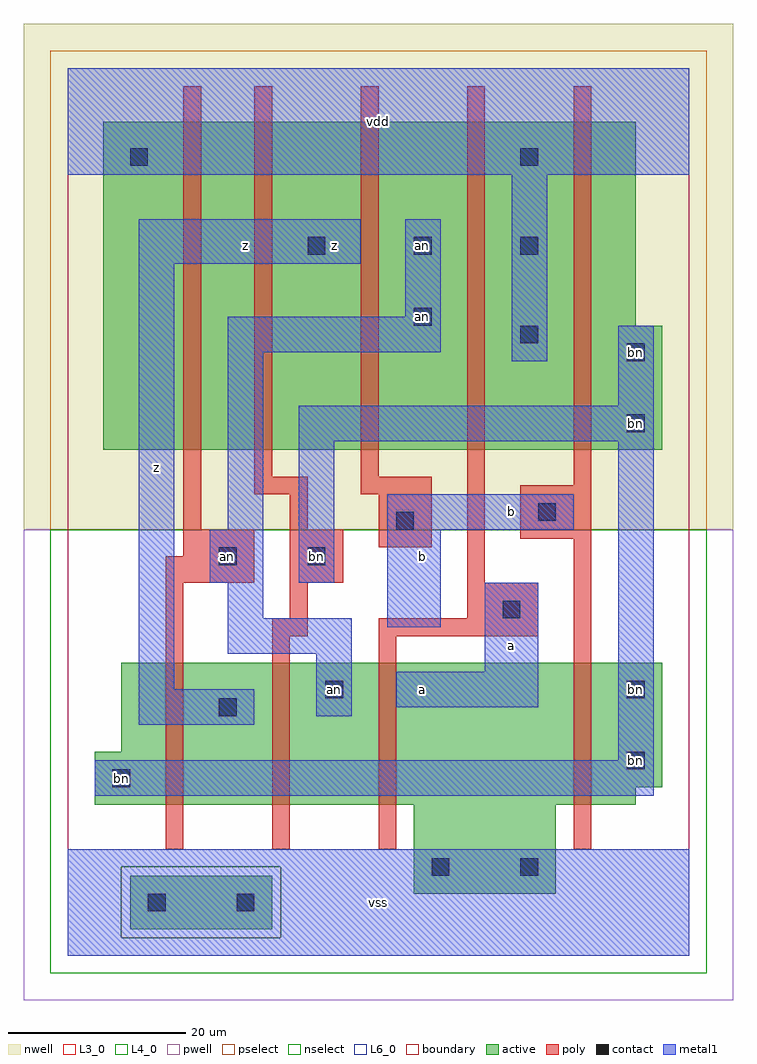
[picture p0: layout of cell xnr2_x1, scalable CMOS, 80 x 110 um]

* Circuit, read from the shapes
.subckt xnr2_x1 a an b bn vdd vss z
M1 z an bn vss nfet w=16u l=2u
M2 an bn z vss nfet w=16u l=2u
M3 vss a an vss nfet w=16u l=2u
M4 bn b vss vss nfet w=16u l=2u
M5 n1 an vdd n2 pfet w=37u l=2u
M6 z bn n1 n2 pfet w=37u l=2u
M7 an b z n2 pfet w=37u l=2u
M8 vdd a an n2 pfet w=37u l=2u
M9 bn b vdd n2 pfet w=37u l=2u
.ends

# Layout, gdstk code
import gdstk
lib = gdstk.Library(unit=1e-6, precision=1e-09)
def R(c, l, rs):  # rectangles x0, y0, x1, y1
    for r in rs: c.add(gdstk.rectangle(r[:2], r[2:], *l))
def A(c, l, x, y, w, h, nx, ny, dx, dy):  # array of equal rectangles
    R(c, l, [(x+i*dx, y+j*dy, x+i*dx+w, y+j*dy+h) for i in range(nx) for j in range(ny)])
L3_0 = (3, 0)
L4_0 = (4, 0)
L6_0 = (6, 0)
contact = (25, 0)
pwell = (41, 0)
nwell = (42, 0)
active = (43, 0)
pselect = (44, 0)
nselect = (45, 0)
poly = (46, 0)
metal1 = (49, 0)
boundary = (63, 0)

xnr2_x1 = lib.new_cell('xnr2_x1')
R(xnr2_x1, L3_0, [(39,7,55,17), (3,17,64,19), (3,19,67,23), (6,23,67,33)])
R(xnr2_x1, L4_0, [(4,57,67,71), (4,71,64,94)])
R(xnr2_x1, L6_0, [(7,3,23,9)])
A(xnr2_x1, contact, 27, 79, 2, 2, 3, 1, 12, 0)
R(xnr2_x1, contact, [(9,5,11,7), (19,5,21,7), (41,9,43,11), (51,9,53,11), (5,19,7,21), (63,21,65,23), (17,27,19,29), (29,29,31,31), (63,29,65,31), (49,38,51,40), (17,44,19,46), (27,44,29,46), (37,48,39,50), (53,49,55,51), (63,59,65,61), (63,67,65,69), (51,69,53,71), (39,71,41,73), (7,89,9,91), (51,89,53,91)])
R(xnr2_x1, pwell, [(-5,-5,75,48)])
R(xnr2_x1, nwell, [(-5,48,75,105)])
R(xnr2_x1, active, [(7,3,23,9), (39,7,55,17), (3,17,64,19), (3,19,67,23), (6,23,67,33), (4,57,67,71), (4,71,64,94)])
R(xnr2_x1, pselect, [(6,2,24,10), (-2,48,72,102)])
R(xnr2_x1, nselect, [(-2,-2,72,2), (-2,2,6,10), (24,2,72,10), (-2,10,72,48)])
R(xnr2_x1, poly, [(11,12,13,42), (23,12,25,36), (35,12,37,36), (57,12,59,47), (23,36,27,38), (35,36,53,38), (25,38,27,42), (45,38,53,42), (11,42,21,45), (25,42,31,48), (45,42,47,98), (13,45,21,48), (35,46,41,52), (51,47,59,53), (13,48,15,98), (25,48,27,52), (21,52,27,54), (33,52,41,54), (57,53,59,98), (21,54,23,98), (33,54,35,98)])
R(xnr2_x1, metal1, [(0,0,70,12), (3,18,66,22), (62,22,66,58), (8,26,21,30), (28,27,32,34), (37,28,53,32), (8,30,12,78), (47,32,53,42), (18,34,32,38), (36,37,42,48), (18,38,22,42), (16,42,22,48), (26,42,30,58), (18,48,22,68), (36,48,57,52), (26,58,66,62), (62,62,66,71), (50,67,54,88), (18,68,42,72), (38,72,42,83), (8,78,33,83), (0,88,70,100)])
R(xnr2_x1, boundary, [(0,0,70,100)])
xnr2_x1.add(gdstk.Label('bn', (6,20), layer=49, texttype=0))
xnr2_x1.add(gdstk.Label('an', (18,45), layer=49, texttype=0))
xnr2_x1.add(gdstk.Label('bn', (28,45), layer=49, texttype=0))
xnr2_x1.add(gdstk.Label('an', (30,30), layer=49, texttype=0))
xnr2_x1.add(gdstk.Label('an', (40,72), layer=49, texttype=0))
xnr2_x1.add(gdstk.Label('an', (40,80), layer=49, texttype=0))
xnr2_x1.add(gdstk.Label('bn', (64,22), layer=49, texttype=0))
xnr2_x1.add(gdstk.Label('bn', (64,30), layer=49, texttype=0))
xnr2_x1.add(gdstk.Label('bn', (64,68), layer=49, texttype=0))
xnr2_x1.add(gdstk.Label('bn', (64,60), layer=49, texttype=0))
xnr2_x1.add(gdstk.Label('z', (10,55), layer=49, texttype=0))
xnr2_x1.add(gdstk.Label('z', (20,80), layer=49, texttype=0))
xnr2_x1.add(gdstk.Label('z', (30,80), layer=49, texttype=0))
xnr2_x1.add(gdstk.Label('vss', (35,6), layer=49, texttype=0))
xnr2_x1.add(gdstk.Label('b', (40,45), layer=49, texttype=0))
xnr2_x1.add(gdstk.Label('a', (40,30), layer=49, texttype=0))
xnr2_x1.add(gdstk.Label('a', (50,35), layer=49, texttype=0))
xnr2_x1.add(gdstk.Label('b', (50,50), layer=49, texttype=0))
xnr2_x1.add(gdstk.Label('vdd', (35,94), layer=49, texttype=0))

lib.write_gds('xnr2_x1.gds')
